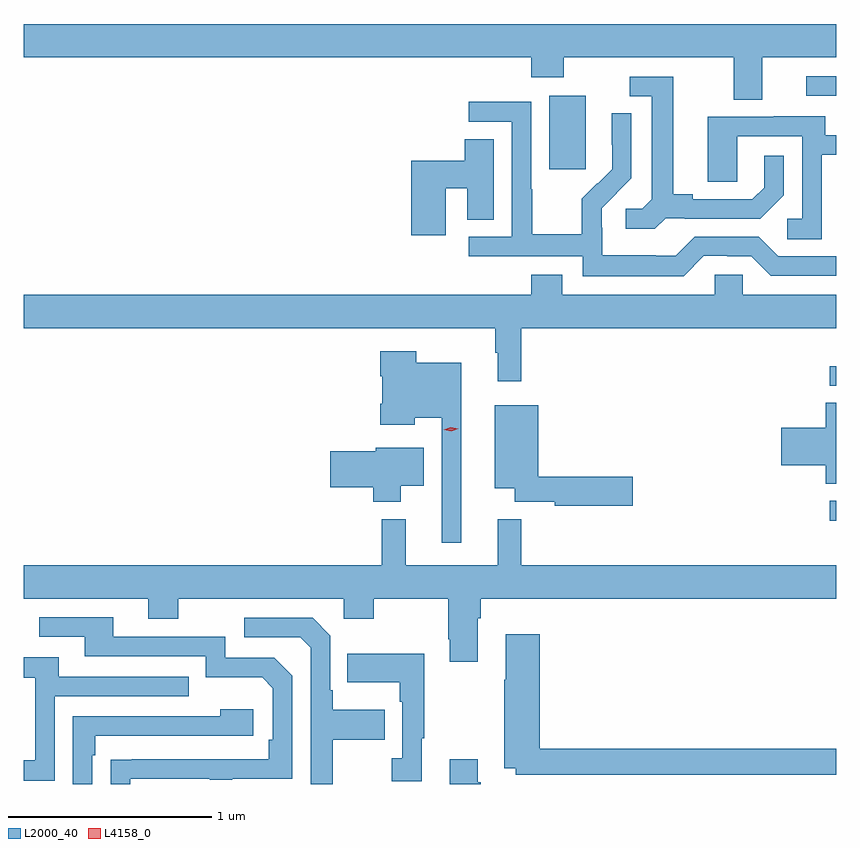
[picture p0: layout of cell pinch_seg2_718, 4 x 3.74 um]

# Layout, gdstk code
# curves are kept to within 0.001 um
import gdstk
lib = gdstk.Library(unit=1e-6, precision=1e-09)
def R(c, l, rs):  # rectangles x0, y0, x1, y1
    for r in rs: c.add(gdstk.rectangle(r[:2], r[2:], *l))
def P(c, l, *ps):  # polygons
    for p in ps: c.add(gdstk.Polygon(p, *l))
L2000_40 = (2000, 40)
L4158_0 = (4158, 0)

pinch_seg2_718 = lib.new_cell('pinch_seg2_718')
R(pinch_seg2_718, L2000_40, [(781.197,660.007,781.231,660.105), (781.197,660.672,781.231,660.768), (779.819,661.737,779.998,662.098), (781.083,662.1,781.231,662.196)])
P(pinch_seg2_718, L2000_40, [(780.865,662.288),(781.231,662.288),(781.231,662.452),(777.231,662.452),(777.231,662.288),(779.729,662.288),(779.729,662.189),(779.889,662.189),(779.889,662.288),(780.725,662.288),(780.725,662.08),(780.865,662.08)],
  [(780.39,661.497),(780.484,661.497),(780.484,661.494),(780.856,661.494),(780.972,661.61),(780.972,661.804),(780.875,661.804),(780.875,661.647),(780.818,661.59),(780.523,661.59),(780.523,661.613),(780.427,661.613),(780.427,662.193),(780.213,662.193),(780.213,662.097),(780.323,662.097),(780.323,661.589),(780.276,661.542),(780.195,661.542),(780.195,661.445),(780.338,661.445)],
  [(780.579,661.311),(780.695,661.311),(780.695,661.308),(780.813,661.308),(780.909,661.212),(781.231,661.212),(781.231,661.308),(780.945,661.308),(780.849,661.404),(780.534,661.404),(780.441,661.311),(780.341,661.311),(780.341,661.315),(780.078,661.315),(780.078,661.449),(780.076,661.449),(780.076,661.546),(780.222,661.694),(780.222,662.012),(780.126,662.012),(780.126,661.858),(780.128,661.858),(780.128,661.736),(780.057,661.665),(780.054,661.668),(779.977,661.591),(779.977,661.417),(779.733,661.417),(779.733,661.64),(779.73,661.64),(779.73,662.07),(779.421,662.07),(779.421,661.971),(779.634,661.971),(779.634,661.404),(779.421,661.404),(779.421,661.308),(779.982,661.308),(779.982,661.211),(780.479,661.211)],
  [(781.158,661.809),(781.231,661.809),(781.231,661.905),(781.177,661.905),(781.177,661.999),(780.923,661.999),(780.923,661.995),(780.599,661.995),(780.599,661.675),(780.744,661.675),(780.744,661.899),(781.062,661.899),(781.062,661.494),(780.99,661.494),(780.99,661.393),(781.158,661.393)],
  [(779.308,661.643),(779.414,661.643),(779.414,661.489),(779.545,661.489),(779.545,661.886),(779.402,661.886),(779.402,661.778),(779.138,661.778),(779.138,661.413),(779.308,661.413)],
  [(779.681,660.956),(781.231,660.956),(781.231,661.12),(780.771,661.12),(780.771,661.218),(780.633,661.218),(780.633,661.12),(779.881,661.12),(779.881,661.219),(779.729,661.219),(779.729,661.12),(777.231,661.12),(777.231,660.956),(779.553,660.956),(779.553,660.833),(779.564,660.833),(779.564,660.693),(779.681,660.693)],
  [(779.386,660.784),(779.163,660.784),(779.163,660.841),(778.985,660.841),(778.985,660.719),(778.997,660.719),(778.997,660.583),(778.985,660.583),(778.985,660.479),(779.155,660.479),(779.155,660.515),(779.289,660.515),(779.289,659.898),(779.386,659.898)],
  [(781.231,660.587),(781.178,660.587),(781.178,660.464),(780.96,660.464),(780.96,660.281),(781.178,660.281),(781.178,660.19),(781.231,660.19)],
  [(780.229,660.224),(779.764,660.224),(779.764,660.577),(779.549,660.577),(779.549,660.167),(779.648,660.167),(779.648,660.101),(779.844,660.101),(779.844,660.082),(780.229,660.082)],
  [(779.086,660.179),(779.2,660.179),(779.2,660.367),(778.964,660.367),(778.964,660.35),(778.74,660.35),(778.74,660.172),(778.952,660.172),(778.952,660.101),(779.086,660.101)],
  [(779.467,659.528),(779.48,659.528),(779.48,659.624),(781.231,659.624),(781.231,659.788),(779.681,659.788),(779.681,660.016),(779.564,660.016),(779.564,659.788),(779.111,659.788),(779.111,660.016),(778.993,660.016),(778.993,659.788),(777.231,659.788),(777.231,659.624),(777.845,659.624),(777.845,659.525),(777.993,659.525),(777.993,659.624),(778.806,659.624),(778.806,659.525),(778.953,659.525),(778.953,659.624),(779.32,659.624),(779.32,659.425),(779.327,659.425),(779.327,659.313),(779.467,659.313)],
  [(777.757,658.737),(778.147,658.737),(778.147,658.732),(778.259,658.732),(778.259,658.737),(778.554,658.737),(778.554,659.244),(778.464,659.334),(778.224,659.334),(778.224,659.436),(777.673,659.436),(777.673,659.532),(777.309,659.532),(777.309,659.436),(777.533,659.436),(777.533,659.34),(778.128,659.34),(778.128,659.237),(778.405,659.237),(778.458,659.184),(778.458,658.93),(778.438,658.93),(778.438,658.833),(777.661,658.832),(777.661,658.712),(777.757,658.712)],
  [(778.753,658.93),(779.009,658.93),(779.009,659.077),(778.753,659.077),(778.753,659.173),(778.74,659.173),(778.74,659.442),(778.653,659.529),(778.317,659.529),(778.317,659.433),(778.593,659.433),(778.644,659.382),(778.644,658.712),(778.753,658.712)],
  [(781.231,658.886),(779.771,658.886),(779.771,659.449),(779.603,659.449),(779.603,659.225),(779.596,659.225),(779.596,658.79),(779.652,658.79),(779.652,658.758),(781.231,658.758)],
  [(779.191,658.937),(779.203,658.937),(779.203,659.353),(778.825,659.353),(778.825,659.213),(779.082,659.213),(779.082,659.117),(779.094,659.117),(779.094,658.838),(779.043,658.838),(779.043,658.725),(779.191,658.725)],
  [(777.384,659.145),(778.043,659.145),(778.043,659.241),(777.403,659.241),(777.403,659.335),(777.231,659.335),(777.231,659.235),(777.288,659.235),(777.288,658.83),(777.231,658.83),(777.231,658.729),(777.384,658.729)],
  [(777.57,658.853),(777.583,658.853),(777.583,658.95),(778.36,658.95),(778.36,659.08),(778.199,659.08),(778.199,659.046),(777.474,659.046),(777.474,658.712),(777.57,658.712)],
  [(779.48,658.721),(779.467,658.721),(779.467,658.834),(779.327,658.834),(779.327,658.712),(779.48,658.712)])
P(pinch_seg2_718, L4158_0, [(779.335,660.447),(779.299,660.455),(779.299,660.455),(779.299,660.456),(779.334,660.467),(779.37,660.46),(779.37,660.46),(779.37,660.459)])

lib.write_gds('pinch_seg2_718.gds')
